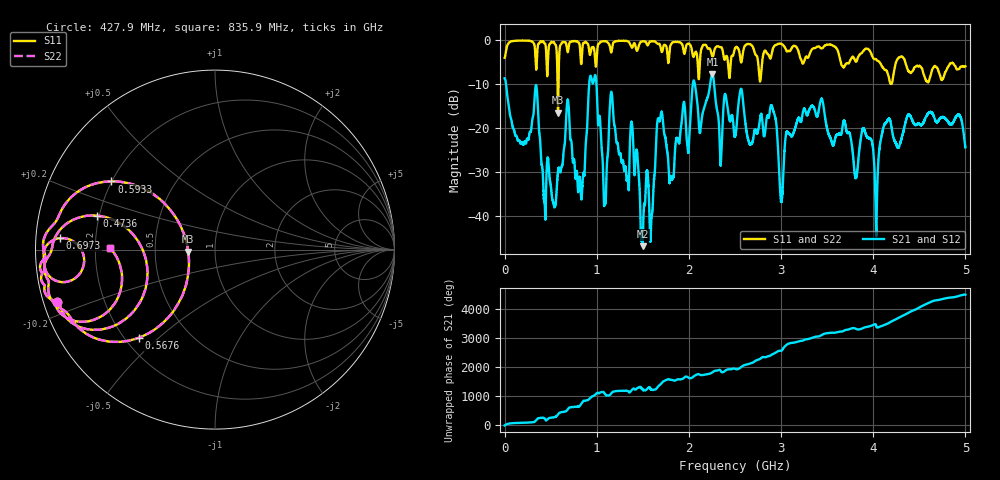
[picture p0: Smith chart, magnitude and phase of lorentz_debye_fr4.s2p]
! jPCBSim: Simulation Results For /home/radioactive/opt/Projects//lorentz_debye_fr4 Project.
! Warning: S12 and S22 are actually just S21 and S11.  This is only true if your device is port-to-port symetrical!
! Frequency  S11  S21  S12  S22
# MHz  S  RI R  50
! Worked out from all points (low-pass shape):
!   16383 points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, 305 kHz to 5 GHz, reference 50 ohm
!   highest |S21| = -7.71 dB at 2.255 GHz (marker M1); lowest = -47.0 dB at 1.497 GHz (marker M2)
!   |S21| within 3 dB of the highest: 915.3 MHz to 998.7 MHz (83.37 MHz wide, 8.71 % of centre); 2.226 GHz to 2.277 GHz (51.06 MHz wide, 2.27 % of centre)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
!   lowest |S11| = -16.5 dB at 579.8 MHz (marker M3), VSWR 1.35, Z = 37 - j0.833 ohm
!   |S11| at or under -10 dB: 575 MHz to 584.5 MHz (9.52 MHz wide, 1.64 % of centre)
!   |S22| runs from -16.5 to 0.0 dB; largest |S21 - S12| = 0
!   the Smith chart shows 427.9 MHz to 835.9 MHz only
!   S11 on the Smith chart (normalised r, x): 427.9 MHz: 0.04, -0.16; 473.6 MHz: 0.19, +0.14; 567.6 MHz: 0.26, -0.43; 593.3 MHz: 0.20, +0.29; 697.3 MHz: 0.07, +0.04; 835.9 MHz: 0.26, +0.01
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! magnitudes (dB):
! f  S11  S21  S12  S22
! 305 kHz  -4.0  -8.7  -8.7  -4.0
! 343.3 MHz  -6.7  -10.3  -10.3  -6.7
! 427.9 MHz  -0.6  -36.6  -36.6  -0.6
! 473.6 MHz  -3.3  -27.4  -27.4  -3.3
! 567.6 MHz  -3.8  -33.2  -33.2  -3.8
! 579.8 MHz  -16.5  -30.0  -30.0  -16.5
! 593.3 MHz  -3.2  -29.5  -29.5  -3.2
! 697.3 MHz  -1.3  -15.6  -15.6  -1.3
! 833.7 MHz  -5.2  -36.1  -36.1  -5.2
! 835.9 MHz  -4.6  -36.0  -36.0  -4.6
! 970.8 MHz  -1.9  -8.9  -8.9  -1.9
! 1.084 GHz  -0.2  -36.7  -36.7  -0.2
! 1.161 GHz  -2.5  -11.9  -11.9  -2.5
! 1.497 GHz  -0.3  -47.0  -47.0  -0.3
! 1.667 GHz  -0.9  -17.8  -17.8  -0.9
! 2.255 GHz  -3.9  -7.7  -7.7  -3.9
! 2.5 GHz  -1.8  -21.9  -21.9  -1.8
! 3.003 GHz  -0.8  -36.8  -36.8  -0.8
! 3.333 GHz  -2.1  -15.0  -15.0  -2.1
! 4.032 GHz  -4.4  -44.3  -44.3  -4.4
! 4.167 GHz  -8.2  -17.9  -17.9  -8.2
! 5 GHz  -6.0  -24.4  -24.4  -6.0
